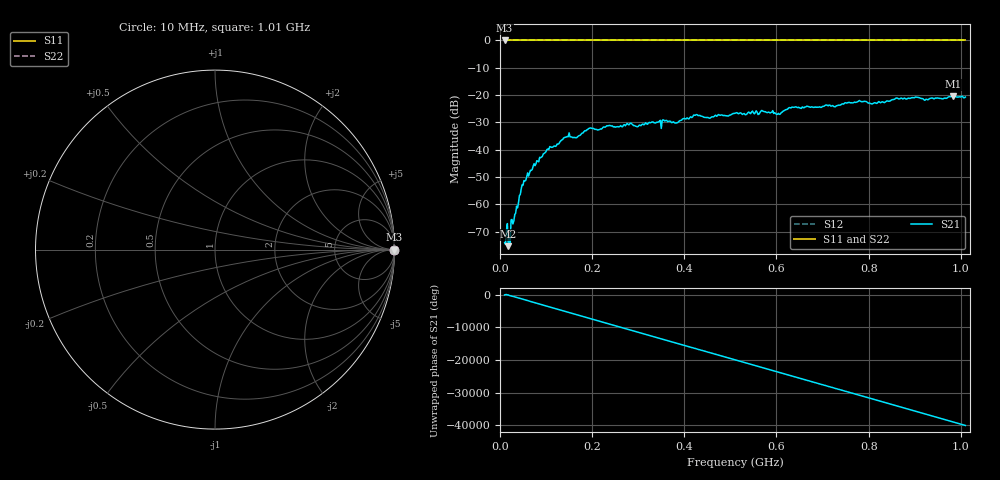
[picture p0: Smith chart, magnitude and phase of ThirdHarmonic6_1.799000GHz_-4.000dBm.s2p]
! 8/16/2025 9:46:15 PM
! C:\ANRITSUVNA\TEMP\TEMP.S2P
! CHANNEL.1
! TR.MEASUREMENT
! RAW.DATA
! RF.CORRECTION.OFF
! AVERAGING.OFF
! IF.BANDWIDTH: 5KHZ
! SWEEPTYPE:  FREQ.SWEEP(Linear)
! Reference Plane Port Info
! PORT:  PORT1  PORT2
! DISTANCE:  0  m  0  m
! TIME:  0  s  0  s
! PHASE.OFFSET:  0  deg.  0  deg.
! LOSS:  0  dB  0  dB
! REF.LOSS:  0  dB  0  dB
! REF.FREQ:  0  Hz  0  Hz
! Power Info
! POWER:  -20  dBm  -20  dBm
! EFF.POWER:  -20  dBm  -20  dBm
! SOURCE.ATTEN:  0  dB  0  dB
! TEST.ATTEN:  0  dB  0  dB
# GHZ S RI R 50.0
! FREQ.GHZ  S11RE  S11IM  S21RE  S21IM  S12RE  S12IM  S22RE  S22IM
!; PortSelection: Port_12
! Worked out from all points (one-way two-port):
!   501 points, 10 MHz to 1.01 GHz, reference 50 ohm
!   highest |S21| = -20.38 dB at 984 MHz (marker M1); lowest = -75.3 dB at 18 MHz (marker M2)
!   lowest |S11| = 0.0 dB at 10 MHz (marker M3)
!   |S11| at or under -10 dB: nowhere
!   |S22| runs from 0.0 to 0.0 dB; largest |S21 - S12| = 1.1
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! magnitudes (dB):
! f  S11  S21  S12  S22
! 10 MHz  0.0  -74.0  0.0  0.0
! 12 MHz  0.0  -74.7  0.0  0.0
! 18 MHz  0.0  -75.3  0.0  0.0
! 22 MHz  0.0  -75.0  0.0  0.0
! 28 MHz  0.0  -67.2  0.0  0.0
! 50 MHz  0.0  -53.0  0.0  0.0
! 76 MHz  0.0  -45.9  0.0  0.0
! 106 MHz  0.0  -39.9  0.0  0.0
! 140 MHz  0.0  -35.5  0.0  0.0
! 178 MHz  0.0  -33.9  0.0  0.0
! 196 MHz  0.0  -32.0  0.0  0.0
! 344 MHz  0.0  -29.8  0.0  0.0
! 382 MHz  0.0  -30.2  0.0  0.0
! 424 MHz  0.0  -27.4  0.0  0.0
! 452 MHz  0.0  -28.2  0.0  0.0
! 510 MHz  0.0  -26.6  0.0  0.0
! 604 MHz  0.0  -26.7  0.0  0.0
! 632 MHz  0.0  -24.6  0.0  0.0
! 678 MHz  0.0  -24.4  0.0  0.0
! 844 MHz  0.0  -22.3  0.0  0.0
! 984 MHz  0.0  -20.4  0.0  0.0
! 1.01 GHz  0.0  -20.7  0.0  0.0
